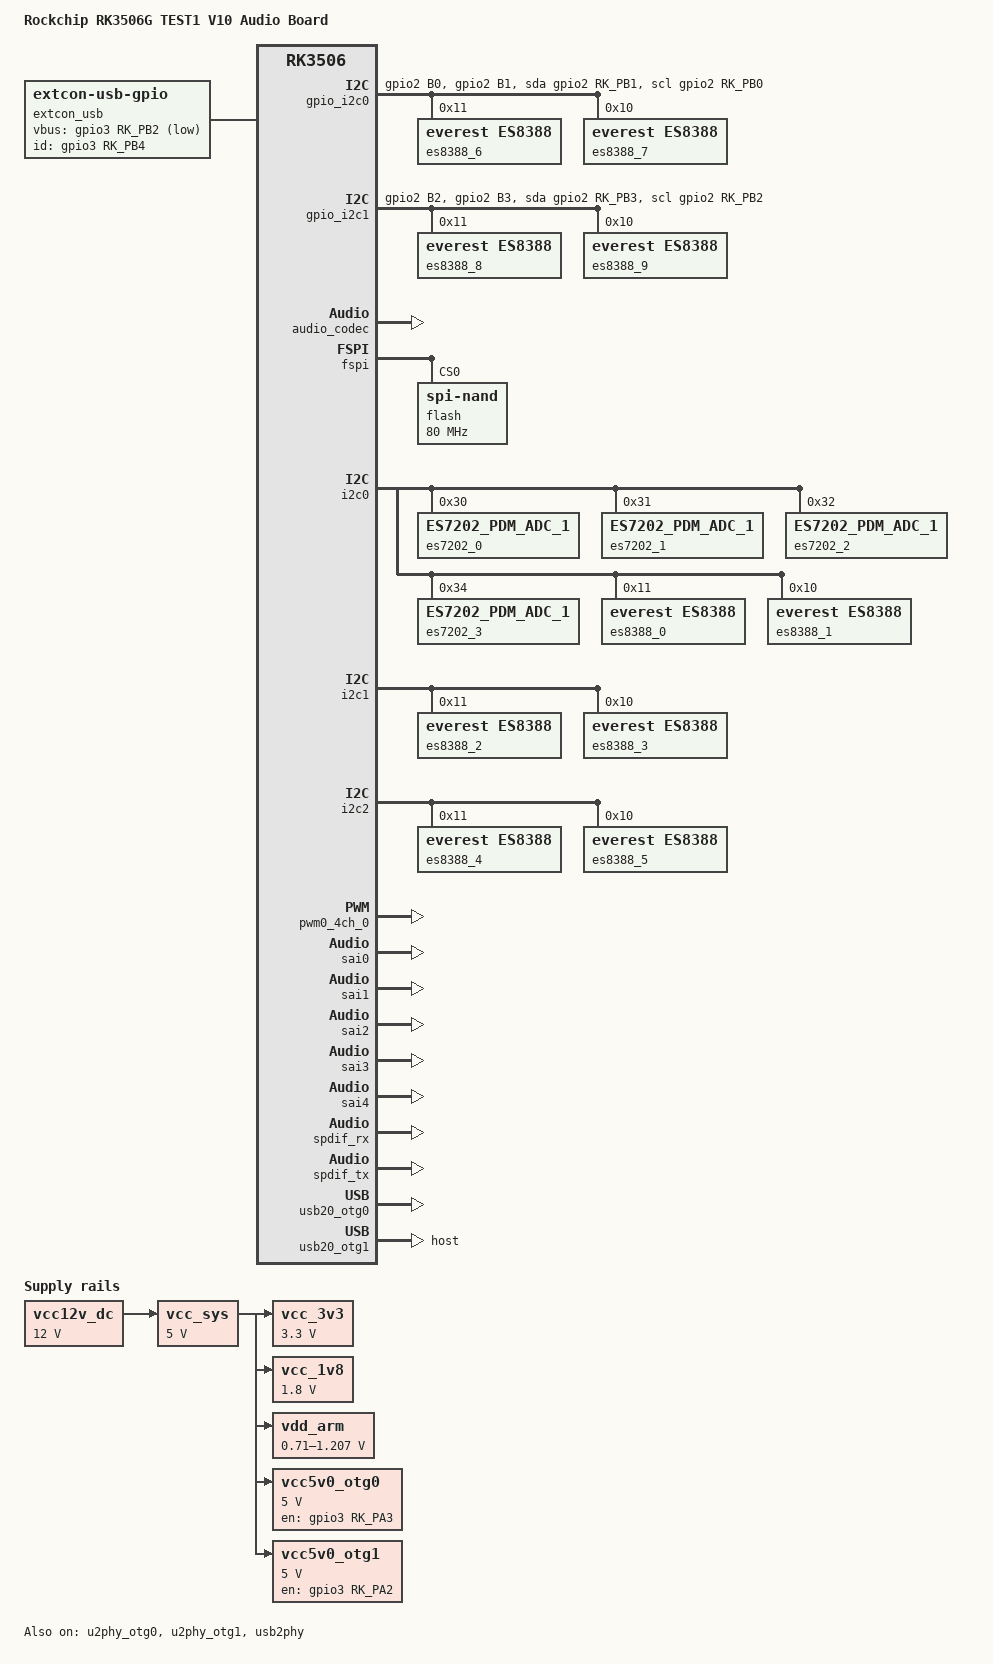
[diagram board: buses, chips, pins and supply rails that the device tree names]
// SPDX-License-Identifier: (GPL-2.0+ OR MIT)
/*
 * Copyright (c) 2024 Rockchip Electronics Co., Ltd.
 */

/dts-v1/;

#include "rk3506.dtsi"

/ {
	model = "Rockchip RK3506G TEST1 V10 Audio Board";
	compatible = "rockchip,rk3506g-test1-v10", "rockchip,rk3506";

	chosen {
		bootargs = "earlycon=uart8250,mmio32,0xff0a0000 console=ttyFIQ0 ubi.mtd=5 ubi.block=0,rootfs root=/dev/ubiblock0_0 rootfstype=squashfs rootwait snd_aloop.index=7 snd_aloop.use_raw_jiffies=1";
	};

	acodec_sound: acodec-sound {
		compatible = "simple-audio-card";
		simple-audio-card,name = "sai4-1r-adc";
		simple-audio-card,format = "i2s";
		simple-audio-card,mclk-fs = <1024>;
		simple-audio-card,bitclock-master = <&codec_master>;
		simple-audio-card,frame-master = <&codec_master>;
		simple-audio-card,cpu {
			sound-dai = <&sai4>;
		};
		codec_master: simple-audio-card,codec {
			sound-dai = <&audio_codec>;
		};
	};

	dsm_sound: dsm-sound {
		compatible = "simple-audio-card";
		simple-audio-card,format = "i2s";
		simple-audio-card,mclk-fs = <256>;
		simple-audio-card,name = "rockchip-dsm-sound";
		simple-audio-card,bitclock-master = <&dsm_master>;
		simple-audio-card,frame-master = <&dsm_master>;
		simple-audio-card,cpu {
			sound-dai = <&sai3>;
		};
		dsm_master: simple-audio-card,codec {
			sound-dai = <&acdcdig_dsm>;
		};
	};

	extcon_usb: extcon-usb {
		compatible = "linux,extcon-usb-gpio";
		vbus-gpio = <&gpio3 RK_PB2 GPIO_ACTIVE_LOW>;
		id-gpio = <&gpio3 RK_PB4 GPIO_ACTIVE_HIGH>;
		pinctrl-names = "default";
		pinctrl-0 = <&usb_extcon_vbus &usb_extcon_id>;
		status = "okay";
	};

	fiq_debugger: fiq-debugger {
		compatible = "rockchip,fiq-debugger";
		rockchip,serial-id = <0>;
		rockchip,wake-irq = <0>;
		rockchip,irq-mode-enable = <1>;
		rockchip,baudrate = <1500000>;	/* Only 115200 and 1500000 */
		interrupts = <GIC_SPI 115 IRQ_TYPE_LEVEL_HIGH>;
	};

	gpio_i2c0: i2c@0 {
		compatible = "i2c-gpio";
		gpios = <&gpio2 RK_PB1 GPIO_ACTIVE_HIGH>, /* sda */
			<&gpio2 RK_PB0 GPIO_ACTIVE_HIGH>; /* scl */
		i2c-gpio,delay-us = <2>;		  /* ~100 kHz */
		#address-cells = <1>;
		#size-cells = <0>;
		pinctrl-names = "default";
		pinctrl-0 = <&gpio_i2c0_pins>;

		es8388_6: es8388@11 {
			#sound-dai-cells = <0>;
			compatible = "everest,es8388", "everest,es8323";
			reg = <0x11>;
			clocks = <&mclkout_sai1>;
			clock-names = "mclk";
			assigned-clocks = <&mclkout_sai1>;
			assigned-clock-rates = <12288000>;
			sound-name-prefix = "ES8388-6";
		};

		es8388_7: es8388@10 {
			#sound-dai-cells = <0>;
			compatible = "everest,es8388", "everest,es8323";
			reg = <0x10>;
			clocks = <&mclkout_sai1>;
			clock-names = "mclk";
			assigned-clocks = <&mclkout_sai1>;
			assigned-clock-rates = <12288000>;
			sound-name-prefix = "ES8388-7";
		};
	};

	gpio_i2c1: i2c@1 {
		compatible = "i2c-gpio";
		gpios = <&gpio2 RK_PB3 GPIO_ACTIVE_HIGH>, /* sda */
			<&gpio2 RK_PB2 GPIO_ACTIVE_HIGH>; /* scl */
		i2c-gpio,delay-us = <2>;		  /* ~100 kHz */
		#address-cells = <1>;
		#size-cells = <0>;
		pinctrl-names = "default";
		pinctrl-0 = <&gpio_i2c1_pins>;

		es8388_8: es8388@11 {
			#sound-dai-cells = <0>;
			compatible = "everest,es8388", "everest,es8323";
			reg = <0x11>;
			clocks = <&mclkout_sai2>;
			clock-names = "mclk";
			assigned-clocks = <&mclkout_sai2>;
			assigned-clock-rates = <12288000>;
			pinctrl-names = "default";
			pinctrl-0 = <&sai2m0_mclk_pins>;
			sound-name-prefix = "ES8388-8";
		};

		es8388_9: es8388@10 {
			#sound-dai-cells = <0>;
			compatible = "everest,es8388", "everest,es8323";
			reg = <0x10>;
			clocks = <&mclkout_sai3>;
			clock-names = "mclk";
			assigned-clocks = <&mclkout_sai3>;
			assigned-clock-rates = <12288000>;
			pinctrl-names = "default";
			pinctrl-0 = <&sai3_mclk_pins>;
			sound-name-prefix = "ES8388-9";
		};
	};

	pdm_mic_array: pdm-mic-array {
		status = "disabled";
		compatible = "rockchip,multicodecs-card";
		rockchip,card-name = "rockchip,pdm-mic-array";
		rockchip,cpu = <&pdm>;
		rockchip,codec = <&es7202_0>, <&es7202_1>,
				 <&es7202_2>, <&es7202_3>;
	};

	/* SAI0 1TX + 4RX */
	sai0_es8388x4_sound: sai0-es8388x4-sound {
		compatible = "rockchip,multicodecs-card";
		rockchip,card-name = "sai0-1t4r-es8388x4";
		rockchip,format = "i2s";
		rockchip,mclk-fs = <256>;
		rockchip,cpu = <&sai0>;
		rockchip,codec = <&es8388_0>, <&es8388_1>,
				 <&es8388_2>, <&es8388_3>;
		rockchip,audio-routing =
			"Speaker", "ES8388-0 LOUT1",
			"Speaker", "ES8388-0 ROUT1",
			"ES8388-0 LINPUT1", "Main Mic", /* From ES8388-4 */
			"ES8388-0 LINPUT2", "Main Mic", /* From ES8388-4 */
			"ES8388-1 LINPUT1", "Main Mic", /* From ES8388-5 */
			"ES8388-1 LINPUT2", "Main Mic", /* From ES8388-5 */
			"ES8388-2 LINPUT1", "Main Mic", /* From ES8388-6 */
			"ES8388-2 LINPUT2", "Main Mic", /* From ES8388-6 */
			"ES8388-3 LINPUT1", "Main Mic", /* From ES8388-7 */
			"ES8388-3 LINPUT2", "Main Mic"; /* From ES8388-7 */
	};

	/* SAI1 4TX + 1RX */
	sai1_es8388x4_sound: sai1-es8388x4-sound {
		compatible = "rockchip,multicodecs-card";
		rockchip,card-name = "sai1-4t1r-es8388x4";
		rockchip,format = "i2s";
		rockchip,mclk-fs = <256>;
		rockchip,cpu = <&sai1>;
		rockchip,codec = <&es8388_4>, <&es8388_5>,
				 <&es8388_6>, <&es8388_7>;
		rockchip,audio-routing =
			"Speaker", "ES8388-4 LOUT1",
			"Speaker", "ES8388-4 ROUT1",
			"Speaker", "ES8388-5 LOUT1",
			"Speaker", "ES8388-5 ROUT1",
			"Speaker", "ES8388-6 LOUT1",
			"Speaker", "ES8388-6 ROUT1",
			"Speaker", "ES8388-7 LOUT1",
			"Speaker", "ES8388-7 ROUT1",
			"ES8388-4 LINPUT1", "Main Mic", /* From ES8388-0 */
			"ES8388-4 LINPUT2", "Main Mic"; /* From ES8388-0 */
	};

	/* SAI2 1TX + 1RX */
	sai2_es8388x1_sound: sai2-es8388x1-sound {
		compatible = "rockchip,multicodecs-card";
		rockchip,card-name = "sai2-1t1r-es8388x1";
		rockchip,format = "i2s";
		rockchip,mclk-fs = <256>;
		rockchip,cpu = <&sai2>;
		rockchip,codec = <&es8388_8>;
		rockchip,audio-routing =
			"Speaker", "ES8388-8 LOUT1",
			"Speaker", "ES8388-8 ROUT1",
			"ES8388-8 LINPUT1", "Main Mic", /* From ES8388-8 */
			"ES8388-8 LINPUT2", "Main Mic"; /* From ES8388-8 */
	};

	/* SAI3 1TX + 1RX */
	sai3_es8388x1_sound: sai3-es8388x1-sound {
		compatible = "rockchip,multicodecs-card";
		rockchip,card-name = "sai3-1t1r-es8388x1";
		rockchip,format = "i2s";
		rockchip,mclk-fs = <256>;
		rockchip,cpu = <&sai3>;
		rockchip,codec = <&es8388_9>;
		rockchip,audio-routing =
			"Speaker", "ES8388-9 LOUT1",
			"Speaker", "ES8388-9 ROUT1",
			"ES8388-9 LINPUT1", "Main Mic", /* From ES8388-9 */
			"ES8388-9 LINPUT2", "Main Mic"; /* From ES8388-9 */
	};

	spdif_rx_dc: spdif-rx-dc {
		compatible = "rockchip,dummy-codec";
		#sound-dai-cells = <0>;
	};

	spdif_rx_sound: spdif-rx-sound {
		compatible = "simple-audio-card";
		simple-audio-card,name = "spdif-rx-sound";
		simple-audio-card,cpu {
			sound-dai = <&spdif_rx>;
		};
		simple-audio-card,codec {
			sound-dai = <&spdif_rx_dc>;
		};
	};

	spdif_tx_dc: spdif-tx-dc {
		compatible = "rockchip,dummy-codec";
		#sound-dai-cells = <0>;
	};

	spdif_tx_sound: spdif-tx-sound {
		compatible = "simple-audio-card";
		simple-audio-card,name = "spdif-tx-sound";
		simple-audio-card,mclk-fs = <128>;
		simple-audio-card,cpu {
			sound-dai = <&spdif_tx>;
		};
		simple-audio-card,codec {
			sound-dai = <&spdif_tx_dc>;
		};
	};

	vcc12v_dc: vcc12v-dc {
		compatible = "regulator-fixed";
		regulator-name = "vcc12v_dc";
		regulator-always-on;
		regulator-boot-on;
		regulator-min-microvolt = <12000000>;
		regulator-max-microvolt = <12000000>;
	};

	vcc_sys: vcc-sys {
		compatible = "regulator-fixed";
		regulator-name = "vcc_sys";
		regulator-always-on;
		regulator-boot-on;
		regulator-min-microvolt = <5000000>;
		regulator-max-microvolt = <5000000>;
		vin-supply = <&vcc12v_dc>;
	};

	vcc_3v3: vcc-3v3 {
		compatible = "regulator-fixed";
		regulator-name = "vcc_3v3";
		regulator-always-on;
		regulator-boot-on;
		regulator-min-microvolt = <3300000>;
		regulator-max-microvolt = <3300000>;
		vin-supply = <&vcc_sys>;
	};

	vcc_1v8: vcc-1v8 {
		compatible = "regulator-fixed";
		regulator-name = "vcc_1v8";
		regulator-always-on;
		regulator-boot-on;
		regulator-min-microvolt = <1800000>;
		regulator-max-microvolt = <1800000>;
		vin-supply = <&vcc_sys>;
	};

	vdd_arm: vdd-arm {
		compatible = "pwm-regulator";
		pwms = <&pwm0_4ch_0 0 5000 1>;
		regulator-name = "vdd_arm";
		regulator-min-microvolt = <710000>;
		regulator-max-microvolt = <1207000>;
		regulator-init-microvolt = <1011000>;
		regulator-always-on;
		regulator-boot-on;
		regulator-settling-time-up-us = <250>;
		pwm-supply = <&vcc_sys>;
	};

	vcc5v0_otg0: vcc5v0-otg0-regulator {
		compatible = "regulator-fixed";
		regulator-name = "vcc5v0_otg0";
		regulator-min-microvolt = <5000000>;
		regulator-max-microvolt = <5000000>;
		enable-active-high;
		gpio = <&gpio3 RK_PA3 GPIO_ACTIVE_HIGH>;
		pinctrl-names = "default";
		pinctrl-0 = <&vcc5v0_otg0_en>;
		vin-supply = <&vcc_sys>;
	};

	vcc5v0_otg1: vcc5v0-otg1-regulator {
		compatible = "regulator-fixed";
		regulator-name = "vcc5v0_otg1";
		regulator-min-microvolt = <5000000>;
		regulator-max-microvolt = <5000000>;
		regulator-always-on;
		regulator-boot-on;
		enable-active-high;
		gpio = <&gpio3 RK_PA2 GPIO_ACTIVE_HIGH>;
		pinctrl-names = "default";
		pinctrl-0 = <&vcc5v0_otg1_en>;
		vin-supply = <&vcc_sys>;
	};
};

&acdcdig_dsm {
	status = "disabled";
	pa-ctl-gpios = <&gpio3 RK_PA1 GPIO_ACTIVE_HIGH>;
	pinctrl-names = "default";
	pinctrl-0 = <&dsm_audm1_ln_pins
		     &dsm_audm1_lp_pins
		     &dsm_spk_ctrl>;
};

&audio_codec {
	status = "okay";
};

&cpu0 {
	cpu-supply = <&vdd_arm>;
};

&fspi {
	status = "okay";

	flash@0 {
		compatible = "spi-nand";
		reg = <0>;
		spi-max-frequency = <80000000>;
		spi-rx-bus-width = <4>;
		spi-tx-bus-width = <1>;
	};
};

&i2c0 {
	status = "okay";
	pinctrl-names = "default";
	pinctrl-0 = <&rm_io18_i2c0_scl
		     &rm_io19_i2c0_sda>;

	es7202_0: es7202@30 {
		status = "okay";
		#sound-dai-cells = <0>;
		compatible = "ES7202_PDM_ADC_1";
		reg = <0x30>;
		sound-name-prefix = "ES7202-0";
	};

	es7202_1: es7202@31 {
		status = "okay";
		#sound-dai-cells = <0>;
		compatible = "ES7202_PDM_ADC_1";
		reg = <0x31>;
		sound-name-prefix = "ES7202-1";
	};

	es7202_2: es7202@32 {
		status = "okay";
		#sound-dai-cells = <0>;
		compatible = "ES7202_PDM_ADC_1";
		reg = <0x32>;
		sound-name-prefix = "ES7202-2";
	};

	es7202_3: es7202@34 {
		status = "okay";
		#sound-dai-cells = <0>;
		compatible = "ES7202_PDM_ADC_1";
		reg = <0x34>;
		sound-name-prefix = "ES7202-3";
	};

	es8388_0: es8388@11 {
		#sound-dai-cells = <0>;
		compatible = "everest,es8388", "everest,es8323";
		reg = <0x11>;
		clocks = <&mclkout_sai0>;
		clock-names = "mclk";
		assigned-clocks = <&mclkout_sai0>;
		assigned-clock-rates = <12288000>;
		pinctrl-names = "default";
		pinctrl-0 = <&rm_io2_sai0_mclk>;
		sound-name-prefix = "ES8388-0";
	};

	es8388_1: es8388@10 {
		#sound-dai-cells = <0>;
		compatible = "everest,es8388", "everest,es8323";
		reg = <0x10>;
		clocks = <&mclkout_sai0>;
		clock-names = "mclk";
		assigned-clocks = <&mclkout_sai0>;
		assigned-clock-rates = <12288000>;
		sound-name-prefix = "ES8388-1";
	};
};

&i2c1 {
	status = "okay";
	pinctrl-names = "default";
	pinctrl-0 = <&rm_io25_i2c1_scl
		     &rm_io26_i2c1_sda>;

	es8388_2: es8388@11 {
		#sound-dai-cells = <0>;
		compatible = "everest,es8388", "everest,es8323";
		reg = <0x11>;
		clocks = <&mclkout_sai0>;
		clock-names = "mclk";
		assigned-clocks = <&mclkout_sai0>;
		assigned-clock-rates = <12288000>;
		sound-name-prefix = "ES8388-2";
	};

	es8388_3: es8388@10 {
		#sound-dai-cells = <0>;
		compatible = "everest,es8388", "everest,es8323";
		reg = <0x10>;
		clocks = <&mclkout_sai0>;
		clock-names = "mclk";
		assigned-clocks = <&mclkout_sai0>;
		assigned-clock-rates = <12288000>;
		sound-name-prefix = "ES8388-3";
	};
};

&i2c2 {
	status = "okay";
	pinctrl-names = "default";
	pinctrl-0 = <&rm_io30_i2c2_scl
		     &rm_io31_i2c2_sda>;

	es8388_4: es8388@11 {
		#sound-dai-cells = <0>;
		compatible = "everest,es8388", "everest,es8323";
		reg = <0x11>;
		clocks = <&mclkout_sai1>;
		clock-names = "mclk";
		assigned-clocks = <&mclkout_sai1>;
		assigned-clock-rates = <12288000>;
		sound-name-prefix = "ES8388-4";
		pinctrl-names = "default";
		pinctrl-0 = <&rm_io8_sai1_mclk>;
	};

	es8388_5: es8388@10 {
		#sound-dai-cells = <0>;
		compatible = "everest,es8388", "everest,es8323";
		reg = <0x10>;
		clocks = <&mclkout_sai1>;
		clock-names = "mclk";
		assigned-clocks = <&mclkout_sai1>;
		assigned-clock-rates = <12288000>;
		sound-name-prefix = "ES8388-5";
	};
};

&pdm {
	status = "disabled";
	pinctrl-names = "default";
	pinctrl-0 = <&rm_io11_pdm_clk0
		     &rm_io12_pdm_sdi0
		     &rm_io13_pdm_sdi1
		     &rm_io14_pdm_sdi2
		     &rm_io15_pdm_sdi3>;
};

&pinctrl {
	acodec-dsm {
		/omit-if-no-ref/
		dsm_spk_ctrl: dsm-spk-ctrl {
			rockchip,pins = <3 RK_PA1 RK_FUNC_GPIO &pcfg_pull_none>;
		};
	};

	gpio-i2c {
		/omit-if-no-ref/
		gpio_i2c0_pins: gpio-i2c0-pins {
			rockchip,pins =
				<2 RK_PB0 RK_FUNC_GPIO &pcfg_pull_none>, /* sda */
				<2 RK_PB1 RK_FUNC_GPIO &pcfg_pull_none>; /* scl */
		};

		/omit-if-no-ref/
		gpio_i2c1_pins: gpio-i2c1-pins {
			rockchip,pins =
				<2 RK_PB2 RK_FUNC_GPIO &pcfg_pull_none>, /* sda */
				<2 RK_PB3 RK_FUNC_GPIO &pcfg_pull_none>; /* scl */
		};
	};

	usb {
		usb_extcon_id: usb-extcon-id {
			rockchip,pins = <3 RK_PB4 RK_FUNC_GPIO &pcfg_pull_up>;
		};

		usb_extcon_vbus: usb-extcon-vbus {
			rockchip,pins = <3 RK_PB2 RK_FUNC_GPIO &pcfg_pull_none>;
		};

		vcc5v0_otg0_en: vcc5v0-otg0-en {
			rockchip,pins = <3 RK_PA3 RK_FUNC_GPIO &pcfg_pull_none>;
		};

		vcc5v0_otg1_en: vcc5v0-otg1-en {
			rockchip,pins = <3 RK_PA2 RK_FUNC_GPIO &pcfg_pull_none>;
		};
	};
};

&pwm0_4ch_0 {
	pinctrl-names = "active";
	pinctrl-0 = <&rm_io21_pwm0_ch0>;
	status = "okay";
};

&sai0 {
	status = "okay";
	pinctrl-names = "default";
	pinctrl-0 = <&rm_io0_sai0_lrck
		     &rm_io1_sai0_sclk
		     &rm_io3_sai0_sdo
		     &rm_io4_sai0_sdi0
		     &rm_io5_sai0_sdi1
		     &rm_io6_sai0_sdi2
		     &rm_io7_sai0_sdi3>;
};

&sai1 {
	status = "okay";
	pinctrl-names = "default";
	pinctrl-0 = <&rm_io9_sai1_sclk
		     &rm_io10_sai1_lrck
		     &rm_io11_sai1_sdi
		     &rm_io12_sai1_sdo0
		     &rm_io13_sai1_sdo1
		     &rm_io14_sai1_sdo2
		     &rm_io15_sai1_sdo3>;
};

&sai2 {
	status = "okay";
	pinctrl-names = "default";
	pinctrl-0 = <&sai2m0_lrck_pins
		     &sai2m0_sclk_pins
		     &sai2m0_sdi_pins
		     &sai2m0_sdo_pins>;
};

&sai3 {
	status = "okay";
	pinctrl-names = "default";
	pinctrl-0 = <&sai3_lrck_pins
		     &sai3_sclk_pins
		     &sai3_sdi_pins
		     &sai3_sdo_pins>;
};

&sai4 {
	status = "okay";
};

&spdif_rx {
	status = "okay";
	pinctrl-names = "default";
	pinctrl-0 = <&rm_io17_spdif_rx>;
};

&spdif_tx {
	status = "okay";
	pinctrl-names = "default";
	pinctrl-0 = <&rm_io16_spdif_tx>;
};

&u2phy_otg0 {
	vbus-supply = <&vcc5v0_otg0>;
	rockchip,gpio-vbus-det;
	rockchip,gpio-id-det;
	status = "okay";
};

&u2phy_otg1 {
	phy-supply = <&vcc5v0_otg1>;
	status = "okay";
};

&usb20_otg0 {
	status = "okay";
};

&usb20_otg1 {
	dr_mode = "host";
	status = "okay";
};

&usb2phy {
	extcon = <&extcon_usb>;
	status = "okay";
};
